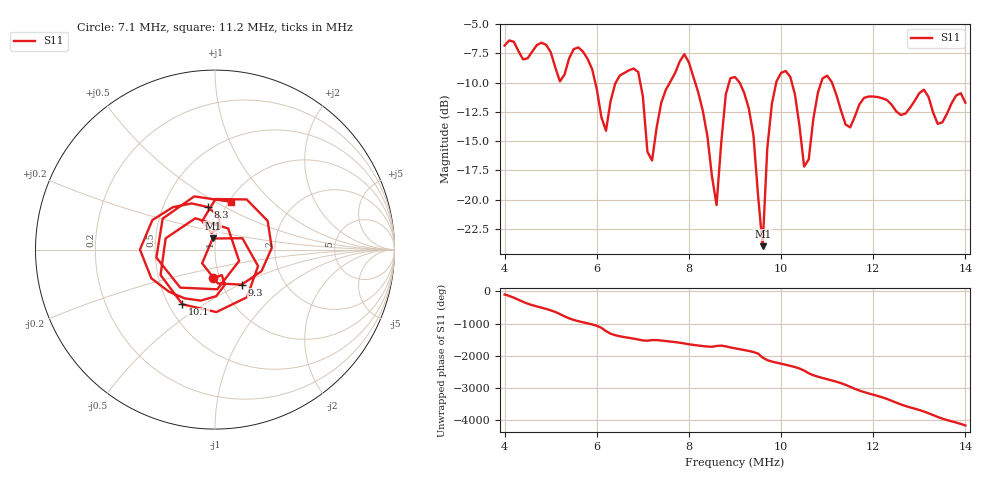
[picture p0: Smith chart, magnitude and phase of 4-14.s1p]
# HZ S RI R 50
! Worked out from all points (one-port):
!   101 points, 4 MHz to 14 MHz, reference 50 ohm
!   lowest |S11| = -24.0 dB at 9.6 MHz (marker M1), VSWR 1.14, Z = 48.4 + j6.02 ohm
!   |S11| at or under -10 dB: 8.136 MHz to 8.872 MHz (736.6 kHz wide, 8.66 % of centre); 9.101 MHz to 9.895 MHz (794.1 kHz wide, 8.36 % of centre); 11.11 MHz to end of sweep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
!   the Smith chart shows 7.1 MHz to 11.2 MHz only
!   S11 on the Smith chart (normalised r, x): 7.1 MHz: 0.93, -0.30; 8.3 MHz: 0.83, +0.42; 9.3 MHz: 1.23, -0.51; 10.1 MHz: 0.59, -0.41; 11.2 MHz: 1.02, +0.59
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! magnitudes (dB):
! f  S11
! 4 MHz  -6.8
! 4.9 MHz  -6.8
! 5.3 MHz  -9.3
! 5.7 MHz  -7.3
! 6.2 MHz  -14.1
! 6.5 MHz  -9.4
! 6.9 MHz  -9.1
! 7.1 MHz  -15.9
! 7.2 MHz  -16.7
! 7.4 MHz  -11.7
! 7.8 MHz  -8.2
! 8.3 MHz  -12.4
! 8.6 MHz  -20.5
! 8.8 MHz  -11.0
! 9 MHz  -9.5
! 9.3 MHz  -12.2
! 9.6 MHz  -24.0
! 9.7 MHz  -15.6
! 9.8 MHz  -11.8
! 10.1 MHz  -9.0
! 10.3 MHz  -11.0
! 10.5 MHz  -17.2
! 10.9 MHz  -9.6
! 11.2 MHz  -11.0
! 11.5 MHz  -13.8
! 11.8 MHz  -11.3
! 12.8 MHz  -12.1
! 14 MHz  -11.7
